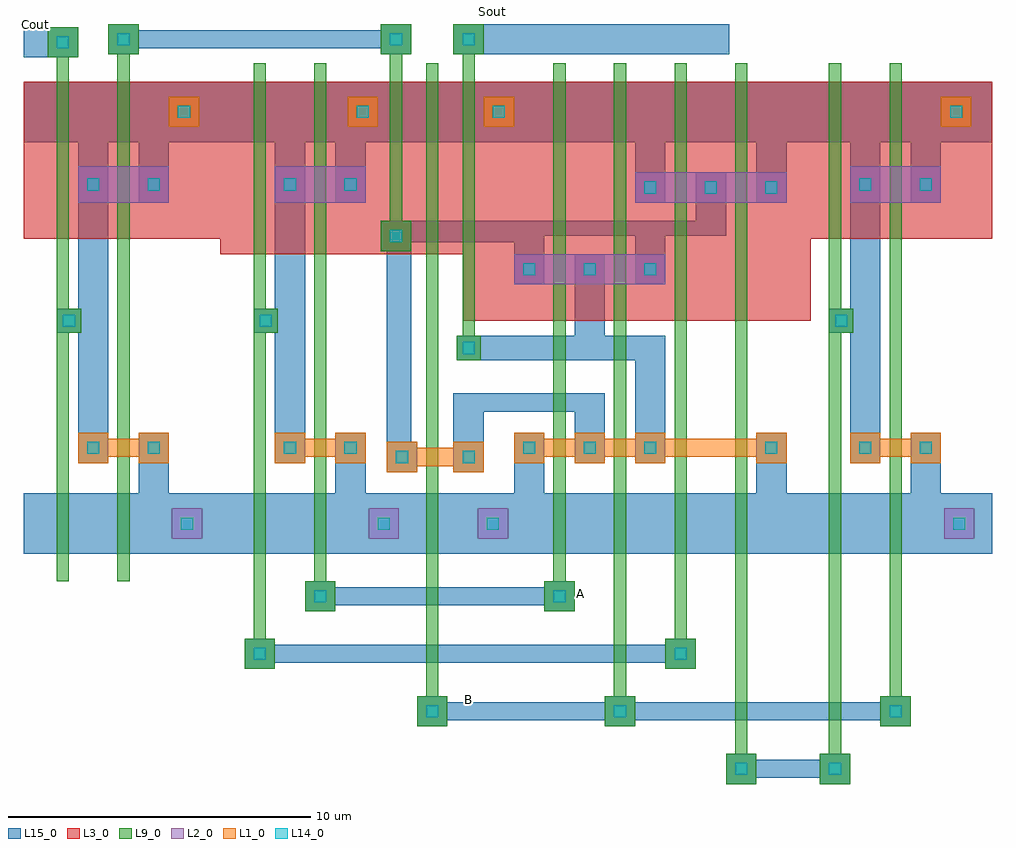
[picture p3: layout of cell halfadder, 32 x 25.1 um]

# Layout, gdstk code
import gdstk
lib = gdstk.Library(unit=1e-6, precision=1e-09)
def R(c, l, rs):  # rectangles x0, y0, x1, y1
    for r in rs: c.add(gdstk.rectangle(r[:2], r[2:], *l))
def A(c, l, x, y, w, h, nx, ny, dx, dy):  # array of equal rectangles
    R(c, l, [(x+i*dx, y+j*dy, x+i*dx+w, y+j*dy+h) for i in range(nx) for j in range(ny)])
def P(c, l, *ps):  # polygons
    for p in ps: c.add(gdstk.Polygon(p, *l))
L1_0 = (1, 0)
L2_0 = (2, 0)
L3_0 = (3, 0)
L9_0 = (9, 0)
L14_0 = (14, 0)
L15_0 = (15, 0)

halfadder = lib.new_cell('halfadder')
R(halfadder, L1_0, [(-6.1,4.9,-5.1,5.9), (-0.2,4.9,0.8,5.9), (4.3,4.9,5.3,5.9), (19.4,4.9,20.4,5.9)])
P(halfadder, L1_0, [(19.4,-5.2),(18.4,-5.2),(18.4,-5.4),(17.4,-5.4),(17.4,-5.2),(16.4,-5.2),(16.4,-6.2),(17.4,-6.2),(17.4,-6),(18.4,-6),(18.4,-6.2),(19.4,-6.2)],
  [(8.3,-6),(9.3,-6),(9.3,-6.2),(10.3,-6.2),(10.3,-6),(13.3,-6),(13.3,-6.2),(14.3,-6.2),(14.3,-5.2),(13.3,-5.2),(13.3,-5.4),(10.3,-5.4),(10.3,-5.2),(9.3,-5.2),(9.3,-5.4),(8.3,-5.4),(8.3,-5.2),(7.3,-5.2),(7.3,-5.4),(6.3,-5.4),(6.3,-5.2),(5.3,-5.2),(5.3,-6.2),(6.3,-6.2),(6.3,-6),(7.3,-6),(7.3,-6.2),(8.3,-6.2)],
  [(0.4,-5.2),(-0.6,-5.2),(-0.6,-5.4),(-1.6,-5.4),(-1.6,-5.2),(-2.6,-5.2),(-2.6,-6.2),(-1.6,-6.2),(-1.6,-6),(-0.6,-6),(-0.6,-6.2),(0.4,-6.2)],
  [(1.1,-5.5),(1.1,-6.5),(2.1,-6.5),(2.1,-6.3),(3.3,-6.3),(3.3,-6.5),(4.3,-6.5),(4.3,-5.5),(3.3,-5.5),(3.3,-5.7),(2.1,-5.7),(2.1,-5.5)],
  [(-6.1,-5.2),(-7.1,-5.2),(-7.1,-5.4),(-8.1,-5.4),(-8.1,-5.2),(-9.1,-5.2),(-9.1,-6.2),(-8.1,-6.2),(-8.1,-6),(-7.1,-6),(-7.1,-6.2),(-6.1,-6.2)])
R(halfadder, L2_0, [(-6,-8.7,-5,-7.7), (0.5,-8.7,1.5,-7.7), (4.1,-8.7,5.1,-7.7), (19.5,-8.7,20.5,-7.7), (5.3,-0.3,10.3,0.7), (-9.1,2.4,-6.1,3.6), (-2.6,2.4,0.4,3.6), (9.3,2.4,14.3,3.4), (16.4,2.4,19.4,3.6)])
R(halfadder, L3_0, [(3.6,-1.5,15.1,6.4), (-4.4,0.7,3.6,6.4), (-10.9,1.2,-4.4,6.4), (15.1,1.2,21.1,6.4)])
P(halfadder, L9_0, [(7.3,-11.1),(7.3,-10.1),(7,-10.1),(7,7),(6.6,7),(6.6,-10.1),(6.3,-10.1),(6.3,-11.1)],
  [(8.3,-14.9),(9.3,-14.9),(9.3,-13.9),(9,-13.9),(9,7),(8.6,7),(8.6,-13.9),(8.3,-13.9)],
  [(13.3,-16.8),(13.3,-15.8),(13,-15.8),(13,7),(12.6,7),(12.6,-15.8),(12.3,-15.8),(12.3,-16.8)],
  [(15.4,-16.8),(16.4,-16.8),(16.4,-15.8),(16.1,-15.8),(16.1,-1.9),(16.5,-1.9),(16.5,-1.1),(16.1,-1.1),(16.1,7),(15.7,7),(15.7,-15.8),(15.4,-15.8)],
  [(17.4,-14.9),(18.4,-14.9),(18.4,-13.9),(18.1,-13.9),(18.1,7),(17.7,7),(17.7,-13.9),(17.4,-13.9)],
  [(11.3,-13),(11.3,-12),(11,-12),(11,7),(10.6,7),(10.6,-12),(10.3,-12),(10.3,-13)],
  [(-1.6,-11.1),(-0.6,-11.1),(-0.6,-10.1),(-0.9,-10.1),(-0.9,7),(-1.3,7),(-1.3,-10.1),(-1.6,-10.1)],
  [(-3.6,-13),(-2.6,-13),(-2.6,-12),(-2.9,-12),(-2.9,-1.9),(-2.5,-1.9),(-2.5,-1.1),(-2.9,-1.1),(-2.9,7),(-3.3,7),(-3.3,-12),(-3.6,-12)],
  [(2.1,-14.9),(3.1,-14.9),(3.1,-13.9),(2.8,-13.9),(2.8,7),(2.4,7),(2.4,-13.9),(2.1,-13.9)],
  [(3.6,7.3),(3.6,-2),(3.4,-2),(3.4,-2.8),(4.2,-2.8),(4.2,-2),(4,-2),(4,7.3),(4.3,7.3),(4.3,8.3),(3.3,8.3),(3.3,7.3)],
  [(-8.1,8.3),(-8.1,7.3),(-7.8,7.3),(-7.8,-10.1),(-7.4,-10.1),(-7.4,7.3),(-7.1,7.3),(-7.1,8.3)],
  [(1.2,7.3),(1.2,1.8),(0.9,1.8),(0.9,0.8),(1.9,0.8),(1.9,1.8),(1.6,1.8),(1.6,7.3),(1.9,7.3),(1.9,8.3),(0.9,8.3),(0.9,7.3)],
  [(-9.8,7.2),(-9.8,-10.1),(-9.4,-10.1),(-9.4,-1.9),(-9,-1.9),(-9,-1.1),(-9.4,-1.1),(-9.4,7.2),(-9.1,7.2),(-9.1,8.2),(-10.1,8.2),(-10.1,7.2)])
A(halfadder, L14_0, 5.6, -5.9, 0.4, 0.4, 3, 2, 2, 5.9)
A(halfadder, L14_0, 9.6, 2.7, 0.4, 0.4, 3, 1, 2, 0)
R(halfadder, L14_0, [(12.6,-16.5,13,-16.1), (15.7,-16.5,16.1,-16.1), (2.4,-14.6,2.8,-14.2), (8.6,-14.6,9,-14.2), (17.7,-14.6,18.1,-14.2), (-3.3,-12.7,-2.9,-12.3), (10.6,-12.7,11,-12.3), (-1.3,-10.8,-0.9,-10.4), (6.6,-10.8,7,-10.4), (-5.7,-8.4,-5.3,-8), (0.8,-8.4,1.2,-8), (4.4,-8.4,4.8,-8), (19.8,-8.4,20.2,-8), (1.4,-6.2,1.8,-5.8), (3.6,-6.2,4,-5.8), (-8.8,-5.9,-8.4,-5.5), (-6.8,-5.9,-6.4,-5.5), (-2.3,-5.9,-1.9,-5.5), (-0.3,-5.9,0.1,-5.5), (13.6,-5.9,14,-5.5), (16.7,-5.9,17.1,-5.5), (18.7,-5.9,19.1,-5.5), (3.6,-2.6,4,-2.2), (-9.6,-1.7,-9.2,-1.3), (-3.1,-1.7,-2.7,-1.3), (15.9,-1.7,16.3,-1.3), (1.2,1.1,1.6,1.5), (-8.8,2.8,-8.4,3.2), (-6.8,2.8,-6.4,3.2), (-2.3,2.8,-1.9,3.2), (-0.3,2.8,0.1,3.2), (16.7,2.8,17.1,3.2), (18.7,2.8,19.1,3.2), (-5.8,5.2,-5.4,5.6), (0.1,5.2,0.5,5.6), (4.6,5.2,5,5.6), (19.7,5.2,20.1,5.6), (-9.8,7.5,-9.4,7.9), (-7.8,7.6,-7.4,8), (1.2,7.6,1.6,8), (3.6,7.6,4,8)])
R(halfadder, L15_0, [(12.3,-16.8,13.3,-15.8), (15.4,-16.8,16.4,-15.8), (13.3,-16.6,15.4,-16), (2.1,-14.9,3.1,-13.9), (8.3,-14.9,9.3,-13.9), (17.4,-14.9,18.4,-13.9), (3.1,-14.7,8.3,-14.1), (9.3,-14.7,17.4,-14.1), (-3.6,-13,-2.6,-12), (10.3,-13,11.3,-12), (-2.6,-12.8,10.3,-12.2), (-1.6,-11.1,-0.6,-10.1), (6.3,-11.1,7.3,-10.1), (-0.6,-10.9,6.3,-10.3), (-10.9,7.2,-10.1,8.2), (-10.1,7.2,-9.1,8.2), (-8.1,7.3,-7.1,8.3), (0.9,7.3,1.9,8.3), (3.3,7.3,12.4,8.3), (-7.1,7.5,0.9,8.1)])
P(halfadder, L15_0, [(6.3,-7.2),(6.3,-5.2),(5.3,-5.2),(5.3,-7.2),(3.6,-7.2),(3.6,-9.2),(15.1,-9.2),(15.1,-7.2),(14.3,-7.2),(14.3,-5.2),(13.3,-5.2),(13.3,-7.2)],
  [(14.3,4.4),(15.1,4.4),(15.1,6.4),(3.6,6.4),(3.6,4.4),(9.3,4.4),(9.3,2.4),(10.3,2.4),(10.3,4.4),(13.3,4.4),(13.3,2.4),(14.3,2.4)],
  [(15.7,-1.1),(15.7,-1.9),(16.4,-1.9),(16.4,-6.2),(17.4,-6.2),(17.4,3.6),(16.4,3.6),(16.4,-1.1)],
  [(18.4,-7.2),(15.1,-7.2),(15.1,-9.2),(21.1,-9.2),(21.1,-7.2),(19.4,-7.2),(19.4,-5.2),(18.4,-5.2)],
  [(16.4,4.4),(16.4,2.4),(17.4,2.4),(17.4,4.4),(18.4,4.4),(18.4,2.4),(19.4,2.4),(19.4,4.4),(21.1,4.4),(21.1,6.4),(15.1,6.4),(15.1,4.4)],
  [(-3.3,-1.1),(-3.3,-1.9),(-2.6,-1.9),(-2.6,-6.2),(-1.6,-6.2),(-1.6,3.6),(-2.6,3.6),(-2.6,-1.1)],
  [(-2.6,4.4),(-2.6,2.4),(-1.6,2.4),(-1.6,4.4),(-0.6,4.4),(-0.6,2.4),(0.4,2.4),(0.4,4.4),(3.6,4.4),(3.6,6.4),(-4.4,6.4),(-4.4,4.4)],
  [(1.9,-5.5),(1.9,1.1),(5.3,1.1),(5.3,-0.3),(6.3,-0.3),(6.3,1.3),(9.3,1.3),(9.3,-0.3),(10.3,-0.3),(10.3,1.3),(12.3,1.3),(12.3,3.4),(11.3,3.4),(11.3,1.8),(0.9,1.8),(0.9,0.8),(1.1,0.8),(1.1,-6.5),(2.1,-6.5),(2.1,-5.5)],
  [(-0.6,-7.2),(-4.4,-7.2),(-4.4,-9.2),(3.6,-9.2),(3.6,-7.2),(0.4,-7.2),(0.4,-5.2),(-0.6,-5.2)],
  [(-9.1,4.4),(-9.1,2.4),(-8.1,2.4),(-8.1,4.4),(-7.1,4.4),(-7.1,2.4),(-6.1,2.4),(-6.1,4.4),(-4.4,4.4),(-4.4,6.4),(-10.9,6.4),(-10.9,4.4)],
  [(-9.8,-1.1),(-9.8,-1.9),(-9.1,-1.9),(-9.1,-6.2),(-8.1,-6.2),(-8.1,3.6),(-9.1,3.6),(-9.1,-1.1)],
  [(-7.1,-7.2),(-10.9,-7.2),(-10.9,-9.2),(-4.4,-9.2),(-4.4,-7.2),(-6.1,-7.2),(-6.1,-5.2),(-7.1,-5.2)],
  [(10.3,-6.2),(10.3,-2),(8.3,-2),(8.3,0.7),(7.3,0.7),(7.3,-2),(3.4,-2),(3.4,-2.8),(9.3,-2.8),(9.3,-6.2)],
  [(4.3,-4.5),(7.3,-4.5),(7.3,-6.2),(8.3,-6.2),(8.3,-3.9),(3.3,-3.9),(3.3,-6.5),(4.3,-6.5)])
halfadder.add(gdstk.Label('Cout', (-10.5,8.3), layer=1, texttype=0))
halfadder.add(gdstk.Label('Sout', (4.6,8.7), layer=1, texttype=0))
halfadder.add(gdstk.Label('B', (3.8,-14), layer=1, texttype=0))
halfadder.add(gdstk.Label('A', (7.5,-10.5), layer=1, texttype=0))

lib.write_gds('halfadder.gds')
